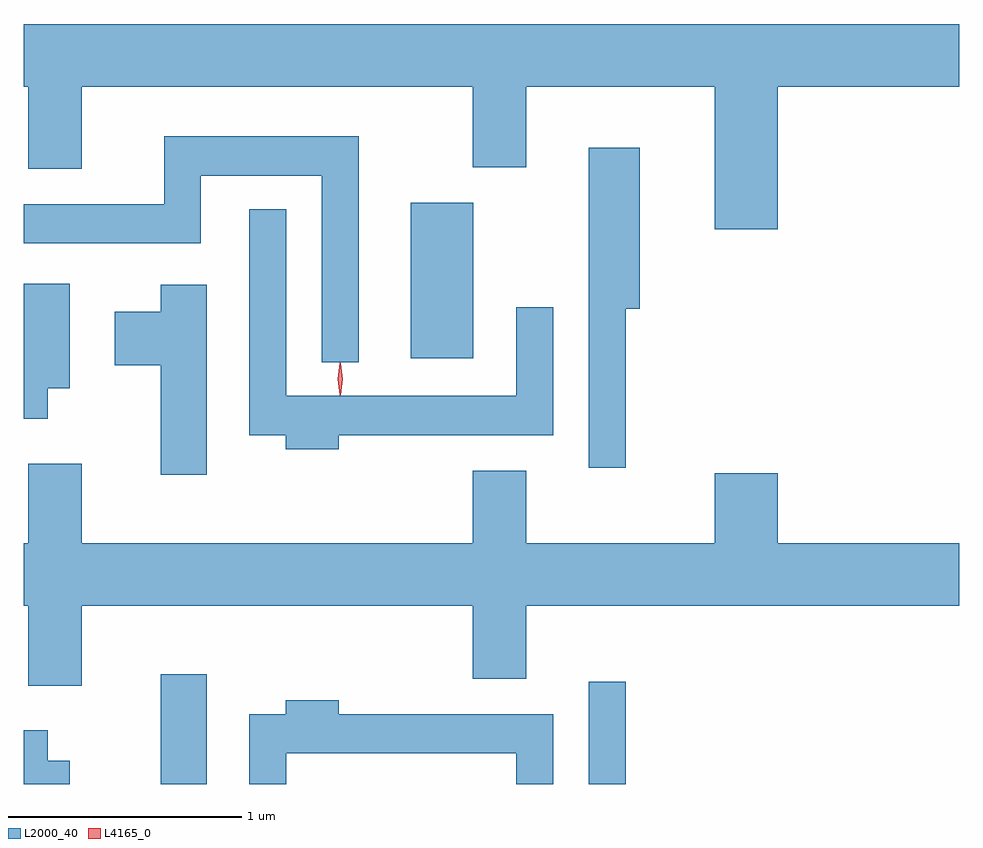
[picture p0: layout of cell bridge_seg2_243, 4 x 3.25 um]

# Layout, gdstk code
import gdstk
lib = gdstk.Library(unit=1e-6, precision=1e-09)
def R(c, l, rs):  # rectangles x0, y0, x1, y1
    for r in rs: c.add(gdstk.rectangle(r[:2], r[2:], *l))
def P(c, l, *ps):  # polygons
    for p in ps: c.add(gdstk.Polygon(p, *l))
L2000_40 = (2000, 40)
L4165_0 = (4165, 0)

bridge_seg2_243 = lib.new_cell('bridge_seg2_243')
R(bridge_seg2_243, L2000_40, [(492.426,1080.855,492.624,1081.324), (494.256,1080.855,494.414,1081.293), (493.496,1082.676,493.764,1083.339)])
P(bridge_seg2_243, L2000_40, [(495.064,1083.836),(495.841,1083.836),(495.841,1084.104),(491.841,1084.104),(491.841,1083.836),(491.861,1083.836),(491.861,1083.486),(492.089,1083.486),(492.089,1083.836),(493.761,1083.836),(493.761,1083.491),(493.989,1083.491),(493.989,1083.836),(494.796,1083.836),(494.796,1083.226),(495.064,1083.226)],
  [(493.274,1083.624),(492.441,1083.624),(492.441,1083.334),(491.841,1083.334),(491.841,1083.166),(492.599,1083.166),(492.599,1083.456),(493.116,1083.456),(493.116,1082.658),(493.274,1082.658)],
  [(494.414,1082.886),(494.474,1082.886),(494.474,1083.574),(494.256,1083.574),(494.256,1082.208),(494.414,1082.208)],
  [(493.189,1082.346),(494.104,1082.346),(494.104,1082.893),(493.946,1082.893),(493.946,1082.514),(492.964,1082.514),(492.964,1083.313),(492.806,1083.313),(492.806,1082.346),(492.961,1082.346),(492.961,1082.286),(493.189,1082.286)],
  [(491.944,1082.546),(492.039,1082.546),(492.039,1082.994),(491.841,1082.994),(491.841,1082.416),(491.944,1082.416)],
  [(492.624,1082.989),(492.426,1082.989),(492.426,1082.874),(492.231,1082.874),(492.231,1082.646),(492.426,1082.646),(492.426,1082.176),(492.624,1082.176)],
  [(492.089,1081.616),(493.761,1081.616),(493.761,1081.306),(493.989,1081.306),(493.989,1081.616),(495.841,1081.616),(495.841,1081.884),(495.064,1081.884),(495.064,1082.184),(494.796,1082.184),(494.796,1081.884),(493.989,1081.884),(493.989,1082.194),(493.761,1082.194),(493.761,1081.884),(492.089,1081.884),(492.089,1082.224),(491.861,1082.224),(491.861,1081.884),(491.841,1081.884),(491.841,1081.616),(491.861,1081.616),(491.861,1081.276),(492.089,1081.276)],
  [(492.964,1080.986),(493.946,1080.986),(493.946,1080.855),(494.104,1080.855),(494.104,1081.154),(493.189,1081.154),(493.189,1081.214),(492.961,1081.214),(492.961,1081.154),(492.806,1081.154),(492.806,1080.855),(492.964,1080.855)],
  [(492.039,1080.954),(491.944,1080.954),(491.944,1081.084),(491.841,1081.084),(491.841,1080.855),(492.039,1080.855)])
P(bridge_seg2_243, L4165_0, [(493.192,1082.517),(493.183,1082.587),(493.192,1082.656),(493.193,1082.656),(493.194,1082.656),(493.203,1082.587),(493.194,1082.517),(493.193,1082.517)],
  [(493.195,1082.52),(493.185,1082.586),(493.195,1082.652),(493.196,1082.653),(493.196,1082.652),(493.206,1082.586),(493.196,1082.52),(493.196,1082.52)])

lib.write_gds('bridge_seg2_243.gds')
